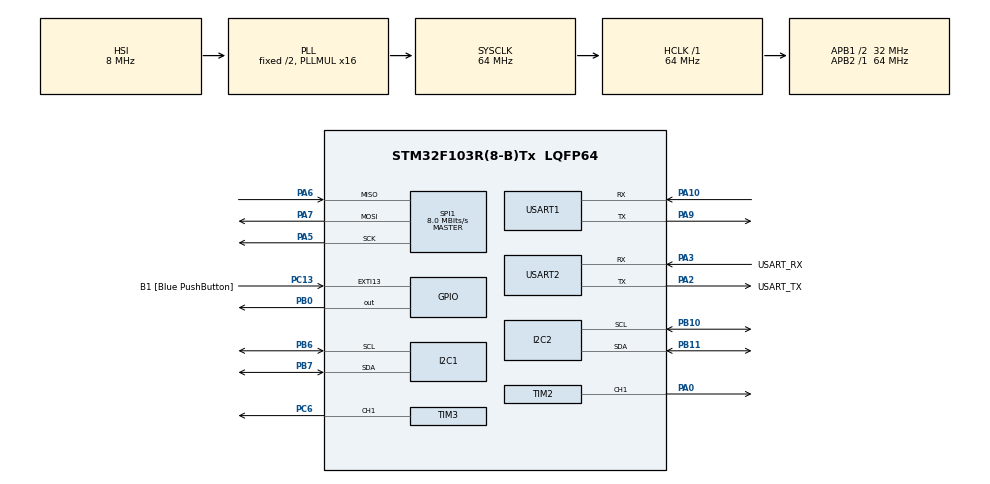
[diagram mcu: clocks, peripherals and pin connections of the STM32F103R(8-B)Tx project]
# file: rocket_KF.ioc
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FATFS._MAX_SS=4096
FATFS._USE_LFN=1
Mcu.Family=STM32F1
Mcu.Name=STM32F103R(8-B)Tx
Mcu.Package=LQFP64
NVIC.EXTI15_10_IRQn=true\:0\:0\:false\:false\:true\:true\:true\:true
NVIC.I2C1_ER_IRQn=true\:0\:0\:false\:false\:true\:true\:true\:true
NVIC.I2C1_EV_IRQn=true\:0\:0\:false\:false\:true\:true\:true\:true
NVIC.I2C2_ER_IRQn=true\:0\:0\:false\:false\:true\:true\:true\:true
NVIC.I2C2_EV_IRQn=true\:0\:0\:false\:false\:true\:true\:true\:true
NVIC.PriorityGroup=NVIC_PRIORITYGROUP_4
NVIC.TIM2_IRQn=true\:0\:0\:false\:false\:true\:true\:true\:true
NVIC.TIM3_IRQn=true\:0\:0\:false\:false\:true\:true\:true\:true
NVIC.USART1_IRQn=true\:0\:0\:false\:false\:true\:true\:true\:true
NVIC.USART2_IRQn=true\:0\:0\:false\:false\:true\:true\:true\:true
PA0-WKUP.Signal=S_TIM2_CH1_ETR
PA10.Mode=Asynchronous
PA10.Signal=USART1_RX
PA13.GPIO_Label=TMS
PA13.Mode=Serial_Wire
PA13.Signal=SYS_JTMS-SWDIO
PA14.GPIO_Label=TCK
PA14.Mode=Serial_Wire
PA14.Signal=SYS_JTCK-SWCLK
PA2.GPIO_Label=USART_TX
PA2.GPIO_Mode=GPIO_MODE_AF_PP
PA2.GPIO_PuPd=GPIO_NOPULL
PA2.GPIO_Speed=GPIO_SPEED_FREQ_LOW
PA2.Mode=Asynchronous
PA2.Signal=USART2_TX
PA3.GPIO_Label=USART_RX
PA3.GPIO_Mode=GPIO_MODE_AF_PP
PA3.GPIO_PuPd=GPIO_NOPULL
PA3.GPIO_Speed=GPIO_SPEED_FREQ_LOW
PA3.Mode=Asynchronous
PA3.Signal=USART2_RX
PA5.Mode=Full_Duplex_Master
PA5.Signal=SPI1_SCK
PA6.Mode=Full_Duplex_Master
PA6.Signal=SPI1_MISO
PA7.Mode=Full_Duplex_Master
PA7.Signal=SPI1_MOSI
PA9.Mode=Asynchronous
PA9.Signal=USART1_TX
PB0.Signal=GPIO_Output
PB10.Mode=I2C
PB10.Signal=I2C2_SCL
PB11.Mode=I2C
PB11.Signal=I2C2_SDA
PB3.GPIO_Label=SWO
PB3.Signal=SYS_JTDO-TRACESWO
PB6.Mode=I2C
PB6.Signal=I2C1_SCL
PB7.Mode=I2C
PB7.Signal=I2C1_SDA
PC13-TAMPER-RTC.GPIO_Label=B1 [Blue PushButton]
PC13-TAMPER-RTC.GPIO_PuPd=GPIO_NOPULL
PC13-TAMPER-RTC.Signal=GPXTI13
PC14-OSC32_IN.Mode=LSE-External-Oscillator
PC14-OSC32_IN.Signal=RCC_OSC32_IN
PC15-OSC32_OUT.Mode=LSE-External-Oscillator
PC15-OSC32_OUT.Signal=RCC_OSC32_OUT
PC6.Signal=S_TIM3_CH1
PD0-OSC_IN.Mode=HSE-External-Clock-Source
PD0-OSC_IN.Signal=RCC_OSC_IN
PD1-OSC_OUT.Mode=HSE-External-Clock-Source
PD1-OSC_OUT.Signal=RCC_OSC_OUT
ProjectManager.HeapSize=0x200
ProjectManager.StackSize=0x400
ProjectManager.TargetToolchain=STM32CubeIDE
RCC.AHBFreq_Value=64000000
RCC.APB1CLKDivider=RCC_HCLK_DIV2
RCC.APB1Freq_Value=32000000
RCC.APB1TimFreq_Value=64000000
RCC.APB2Freq_Value=64000000
RCC.APB2TimFreq_Value=64000000
RCC.HCLKFreq_Value=64000000
RCC.PLLMUL=RCC_PLL_MUL16
RCC.RTCClockSelection=RCC_RTCCLKSOURCE_LSE
RCC.SYSCLKFreq_VALUE=64000000
RCC.SYSCLKSource=RCC_SYSCLKSOURCE_PLLCLK
RCC.USBFreq_Value=64000000
SH.S_TIM2_CH1_ETR.0=TIM2_CH1,PWM Generation1 CH1
SH.S_TIM3_CH1.0=TIM3_CH1,Output Compare1 CH1
SPI1.BaudRatePrescaler=SPI_BAUDRATEPRESCALER_8
SPI1.CalculateBaudRate=8.0 MBits/s
SPI1.Direction=SPI_DIRECTION_2LINES
SPI1.Mode=SPI_MODE_MASTER
SPI1.VirtualType=VM_MASTER
TIM2.Channel-PWM\ Generation1\ CH1=TIM_CHANNEL_1
TIM2.Period=1000 - 1
TIM2.Prescaler=1280 - 1
TIM3.Channel-Output\ Compare1\ CH1=TIM_CHANNEL_1
TIM3.Period=10000 - 1
TIM3.Prescaler=6400 - 1
USART1.VirtualMode=VM_ASYNC
USART2.VirtualMode=VM_ASYNC
VP_FATFS_VS_Generic.Mode=User_defined
VP_TIM2_VS_ClockSourceINT.Mode=Internal
VP_TIM3_VS_ClockSourceINT.Mode=Internal
board=NUCLEO-F103RB

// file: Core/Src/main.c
/* USER CODE BEGIN Header */
/**
 ******************************************************************************
 * @file           : main.c
 * @brief          : Main program body
 ******************************************************************************
 * @attention
 *
 * Copyright (c) 2023 STMicroelectronics.
 * All rights reserved.
 *
 * This software is licensed under terms that can be found in the LICENSE file
 * in the root directory of this software component.
 * If no LICENSE file comes with this software, it is provided AS-IS.
 *
 ******************************************************************************
 */
/* USER CODE END Header */
#include "main.h"
#include "fatfs.h"

/* USER CODE BEGIN Includes */
#include "stm32f1xx.h"
#include "BMP180.h"
#include "stdio.h"
#include "MPU6050.h"
#include "math.h"
#include "stdint.h"
#include "stdlib.h"
/* USER CODE END Includes */

/* USER CODE BEGIN PD */
#define RAD_TO_DEG 57.29578
#define DEG_TO_RAD 0.017453

//define parameters
#define row_1 1
#define col_1 1
#define row_2 2
#define col_2 2
#define row_3 3
#define col_3 3
#define row_10 10
#define iter 1000
#define iter_mem 10

#define add 1
#define substract 0
#define math_pi 3.1415926535
#define gravity_const 9.81

/* USER CODE END PD */

I2C_HandleTypeDef hi2c1;
I2C_HandleTypeDef hi2c2;

SPI_HandleTypeDef hspi1;

TIM_HandleTypeDef htim2;
TIM_HandleTypeDef htim3;

UART_HandleTypeDef huart1;
UART_HandleTypeDef huart2;

/* USER CODE BEGIN PV */
float temp, press, altitude;
float count;
int second = 0;
int tmp_count = 0;

//for return
typedef struct
{
    float** estimate_cov;
    float** estimate_state;
    float** Kalman_Gain;
}KF_return;

typedef struct
{
    float estimate_cov;
    float estimate_state;
    float Kalman_Gain;
}scalar_KF_return;

/* USER CODE END PV */

void SystemClock_Config(void);
static void MX_GPIO_Init(void);
static void MX_USART2_UART_Init(void);
static void MX_I2C1_Init(void);
static void MX_I2C2_Init(void);
static void MX_SPI1_Init(void);
static void MX_TIM2_Init(void);
static void MX_USART1_UART_Init(void);
static void MX_TIM3_Init(void);
/* USER CODE BEGIN PFP */

float*** Matrix_gen(int row_n, int col_n, int iter_n);      //?  ?  ?   [iter][row][col] ?
void Matrix_free(float*** matrix, int row_n, int iter_n);

float** Matrix_gen_2dim(int row_n, int col_n);
void Matrix_free_2dim(float** matrix, int row_n);
float average_filter(float* values);
float** inv_2x2(float** matrix);
float** Transpose(float** matrix, int row, int col);
float** Matrix_adder(float** matrix_1, float** matrix_2, int row, int col, int option);
float** Matrix_multiplicator(float** matrix_1, float** matrix_2, int r1, int c1, int r2, int c2);
KF_return KF_alg(float**F, float** H, float** R, float** esti_state_prev, float** esti_cov_prev, float** measu_state, float sigma, float del_t);
scalar_KF_return scalar_KF_alg(float F_scalar, float H_scalar, float R_scalar, float esti_state_prev, float esti_cov_prev, float measu_state, float sigma_w, float del_t);

void SysTick_Init(void)
{
    SysTick->LOAD = 0xFFFFFF; // 최 ?값으 ? ?  ?
    SysTick->VAL = 0;         // ?  ?   카운?   값을 0?   ? 초기?
    SysTick->CTRL = SysTick_CTRL_CLKSOURCE_Msk |
                    SysTick_CTRL_ENABLE_Msk; // CPU ?  ?  ?   그 ? ? ?  ?  ?   ? ???   ? ?  ?
}

void SysTick_Delay_us(uint32_t us)
{
  SysTick->LOAD = us * (64000000 / 8 / 1000000) - 1;
  SysTick->VAL = 0;
  while (!(SysTick->CTRL & SysTick_CTRL_COUNTFLAG_Msk))
    ;
}
/* USER CODE END PFP */

/* USER CODE BEGIN 0 */
// use printf
#ifdef __GNUC__
/* With GCC/RAISONANCE, small printf (option LD Linker->Libraries->Small printf
   set to 'Yes') calls __io_putchar() */
#define PUTCHAR_PROTOTYPE int __io_putchar(int ch)
#else
#define PUTCHAR_PROTOTYPE int fputc(int ch, FILE *f)
#endif /* __GNUC__ */

PUTCHAR_PROTOTYPE
{
  /* Place your implementation of fputc here */
  /* e.g. write a character to the EVAL_COM1 and Loop until the end of transmission */
  HAL_UART_Transmit(&huart2, (uint8_t *)&ch, 1, 0xFFFF);
  return ch;
}
// use printf

// sdcard part
FATFS fs; // file system
FIL fil;  // File
FILINFO fno;
FRESULT fresult; // result
UINT br, bw;     // File read/write count

/**** capacity related *****/
FATFS *pfs;
DWORD fre_clust;
uint32_t total, free_space;
char str[16]; // Enough to hold all numbers up to 32-bit int
// sdcard part

// mpu6050
RawData_Def myAccelRaw, myGyroRaw;
ScaledData_Def myAccelScaled, myGyroScaled;
float desiredAngle = 45.0;
float gyroAngle = 0.0;
float dt = 0.00078;
// mpu6050
float count = 0;

/* USER CODE END 0 */

int main(void)
{
  /* USER CODE BEGIN 1 */
  MPU_ConfigTypeDef myMpuConfig;
  /* USER CODE END 1 */

  /* MCU Configuration--------------------------------------------------------*/

  /* Reset of all peripherals, Initializes the Flash interface and the Systick. */
  HAL_Init();

  /* USER CODE BEGIN Init */
  SysTick_Init();
  /* USER CODE END Init */

  /* Configure the system clock */
  SystemClock_Config();

  /* Initialize all configured peripherals */
  MX_GPIO_Init();
  MX_USART2_UART_Init();
  MX_I2C1_Init();
  MX_I2C2_Init();
  MX_SPI1_Init();
  MX_TIM2_Init();
  MX_FATFS_Init();
  MX_USART1_UART_Init();
  MX_TIM3_Init();
  /* USER CODE BEGIN 2 */
  initialBMP180();
  MPU6050_Init(&hi2c1);
  myMpuConfig.Accel_Full_Scale = AFS_SEL_16g;
  myMpuConfig.ClockSource = Internal_8MHz;
  myMpuConfig.CONFIG_DLPF = DLPF_184A_188G_Hz;
  myMpuConfig.Gyro_Full_Scale = FS_SEL_500;
  myMpuConfig.Sleep_Mode_Bit = 0;
  MPU6050_Config(&myMpuConfig);
  HAL_TIM_Base_Start(&htim2);
  HAL_TIM_PWM_Start(&htim2, TIM_CHANNEL_1);
  HAL_TIM_Base_Start_IT(&htim3);

  int Parachute = 0; // parachute deployment state
  int start = 0;     // state of time out count
  float accZ_raw, accY_raw, accZ_rot;
  float Z_velocity = 0.0f, Z_velgap = 0.0f, Z_stack = 0.0f, Z_velmean = 0.0f;
  // ?   ??? ?  ?   ?  ?   (LPF?? HPF ?  ?  )
  float alpha = 0.004f, beta = 0.996f;            // HPF ?  ?    LPF ?  ?   https://blog.naver.com/intheglass14/222777512235
  float gyroAngleX = 0.0f, gyroAngleY = 0.0f;   // ?  ?   ??? ?  ?   ??? 추정?   각도
  float accelAngleX = 0.0f, accelAngleY = 0.0f; //  ????  ?   ?  ?   ??? 추정?   각도
  float compAngleX = 0.0f, compAngleY = 0.0f;   // ?   ??? ?  ?   ??? ?  ?   추정?   각도
  float AngleX = 0.0f, AngleY = 0.0f;           // Radian angle
  float Rocket_vector[3] = {0.0f};              // rocket vector
  float Rocket_Angle = 0.0f;                    // with Z axis
  float Z_unitvector[3] = {0.0f, 0.0f, 1.0f};
  float a, b, c = 0.0f; // for acos variables
  float KF_z_pos = 0.0f;
  float KF_z_acc_vel = 0.0f;
  uint32_t startTick, endTick, elapsedTicks, costTime_us;

  //eliminate gravity comp.
  float gravity_x = 0.0f;
  float gravity_y = 0.0f;
  float gravity_z = 0.0f;
  //define lambda
  float lambda = 0.0f;

  //del_t should be changed into dt later
  //by simulation, we should get optimal del_t
  float del_t = 0.1;  //it means 100ms in operation, but in HW, we use ms scale
                      //additionally, it should be revised into accurate del_t

  //iter counter
  int iter_temp = 1;  //begin num 1, because, we should use previous values

  //Gyro KF to eliminate gravity component in our MPU acc datas.
  float** R_mat_gyro = Matrix_gen_2dim(row_1, col_1);
  float** H_vec_gyro = Matrix_gen_2dim(row_1, col_2);
  float** F_vec_gyro = Matrix_gen_2dim(row_2, col_2);

  R_mat_gyro[0][0] = 0.124;                                       //?  ?   ? ?  ?
  H_vec_gyro[0][0] = 1; H_vec_gyro[0][1] = 0;
  F_vec_gyro[0][0] = 1; F_vec_gyro[0][1] = 0; F_vec_gyro[1][0] = del_t; F_vec_gyro[1][1] = 1;

  float*** measu_Ang_acc_x = Matrix_gen(row_1, col_1, iter_mem);
  float*** est_state_rho_x = Matrix_gen(row_2, col_1, iter_mem);
  float*** est_cov_rho_x = Matrix_gen(row_2, col_2, iter_mem);

  float*** measu_Ang_acc_y = Matrix_gen(row_1, col_1, iter_mem);
  float*** est_state_pi_y = Matrix_gen(row_2, col_1, iter_mem);
  float*** est_cov_pi_y = Matrix_gen(row_2, col_2, iter_mem);

  float*** measu_Ang_acc_z = Matrix_gen(row_1, col_1, iter_mem);
  float*** est_state_thea_z = Matrix_gen(row_2, col_1, iter_mem);
  float*** est_cov_thea_z = Matrix_gen(row_2, col_2, iter_mem);

  //initializing
  est_state_rho_x[0][0][0] = myGyroScaled.x;      //changed Gyro data
  est_cov_rho_x[0][0][0] = R_mat_gyro[0][0];
  est_state_pi_y[0][0][0] = myGyroScaled.y;
  est_cov_pi_y[0][0][0] = R_mat_gyro[0][0];
  est_state_thea_z[0][0][0] = myGyroScaled.z;
  est_cov_thea_z[0][0][0] = R_mat_gyro[0][0];

  //=========need Kalman Gain and COV of estimation       R, F, H / Q : made in KF algorithm

  float** R_mat = Matrix_gen_2dim(row_1, col_1);
  float** H_vec = Matrix_gen_2dim(row_1, col_2);
  float** F_vec = Matrix_gen_2dim(row_2, col_2);
  R_mat[0][0] = 0.0144;
  H_vec[0][0] = 1;H_vec[0][1] = 0;
  F_vec[0][0] = 1; F_vec[0][1] = 0; F_vec[1][0] = del_t; F_vec[1][1] = 1;

  //for altitude, scalar KF
  float R_scalar = 0.025;  //by Average filter, var of R decrease into 1/10    //  in low power mode, its error var is 50cm
  float H_scalar = 1, F_scalar = 1;

  //sigma_w is defined by differentation between 2-steps

  //for X,Y
  //KF to estimate vel, acc. this cause linear approximation of postion of x,y
  float*** measu_acc_x = Matrix_gen(row_1, col_1, iter_mem);
  float*** est_state_x = Matrix_gen(row_3, col_1, iter_mem);  //in est_x;
  float*** est_cov_x = Matrix_gen(row_2, col_2, iter_mem);

  float*** measu_acc_y = Matrix_gen(row_1, col_1, iter_mem);
  float*** est_state_y = Matrix_gen(row_3, col_1, iter_mem);
  float*** est_cov_y = Matrix_gen(row_2, col_2, iter_mem);

  //for Z
  //KF to estimate vel, acc. to store
  //scalar KF to estimate location based on BMP180 measurement data
  float*** measu_acc_z = Matrix_gen(row_1, col_1, iter_mem);

  float standard_alt;
  float*** average_pos_z = Matrix_gen(row_1, col_1, iter_mem);     //for barometer, we should apply Average filter

  float*** est_state_z = Matrix_gen(row_3, col_1, iter_mem);
  float*** est_cov_z = Matrix_gen(row_2, col_2, iter_mem);     //for detecting location(scalar KF)
  float* est_cov_z_for_pos = (float*)malloc(iter_mem*sizeof(float));      //cov for scalar KF
  memset(est_cov_z_for_pos, 0, iter_mem * sizeof(float)); // before use malloc, init value!
  //init call sensing values

  // mpu6050 part
  MPU6050_Get_Accel_Scale(&myAccelScaled);
  MPU6050_Get_Gyro_Scale(&myGyroScaled);

  float tmp_values[10] = {0};
  for (int i = 0; i < 10; i++) {

     //measure position 10 times
     //measu_pos_z[i][1][iter_temp] = ?   ? 측정 값코?  ;
     // bmp180 part
     temp = readTrueTemp();
     press = readTruePress(0);
     altitude = readTrueAltitude(0);

     tmp_values[i] = altitude;
  }
  standard_alt = average_filter(tmp_values);
  average_pos_z[0][0][0] = 0;     //relative altitude from lift off

  //initializing
  est_state_x[0][0][0] = myAccelScaled.x;
  est_cov_x[0][0][0] = R_mat[0][0];
  est_state_y[0][0][0] = myAccelScaled.y;
  est_cov_y[0][0][0] = R_mat[0][0];
  est_state_z[0][0][0] = myAccelScaled.z - gravity_const;
  est_cov_z[0][0][0] = R_mat[0][0];
  //position initializing     for linear KF
  est_state_z[0][2][0] = average_pos_z[0][0][0];
  est_cov_z_for_pos[0] = R_scalar;

  fresult = f_mount(&fs, "/", 1);

  /* Check free space */
  f_getfree("", &fre_clust, &pfs);

  total = (uint32_t)((pfs->n_fatent - 2) * pfs->csize * 0.5);

  free_space = (uint32_t)(fre_clust * pfs->csize * 0.5);

  /* Open file to write/ create a file if it doesn't exist */
  fresult = f_open(&fil, "file1.txt", FA_OPEN_ALWAYS | FA_READ | FA_WRITE);

  /* Writing text */

  /* USER CODE END 2 */

  /* Infinite loop */
  while (1)
  {

    /* USER CODE BEGIN 3 */
     startTick = SysTick->VAL; // ?  ?   ?   ? ???

    // mpu6050 part
     MPU6050_Get_Accel_Scale(&myAccelScaled);
     MPU6050_Get_Gyro_Scale(&myGyroScaled);

   //store angular acc to matrix
   //
   // should elimnate off_set value of Gyro. vel.
   //
   measu_Ang_acc_x[iter_temp][0][0] = myGyroScaled.x;
   measu_Ang_acc_y[iter_temp][0][0] = myGyroScaled.y;
   measu_Ang_acc_z[iter_temp][0][0] = myGyroScaled.z;

    //Average Filter to optimize noise      to get positon of z
    for (int i = 0; i < 10;i++) {

        // bmp180 part
       temp = readTrueTemp();
       press = readTruePress(0);
       altitude = readTrueAltitude(0);
        //measure position 10 times
        //measu_pos_z[i][1][iter_temp] = 위치 측정 값코드;

        tmp_values[i] = altitude;
    }
    average_pos_z[iter_temp][0][0] = average_filter(tmp_values)-standard_alt;

    //other code
    //about...
    //KF, scalar KF
    //KF_return KF_alg(float** F, float** H, float** R, float** esti_state_prev, float** esti_cov_prev, float** measu_state, float sigma_w, float del_t)

    //at first step, in our MPU sensor includes gravity component in our acceleration data.
    //so we should elminate them, following steps.
    //
    //Gyro KF
    //-> mismatch of coordinate system's angle
    //-> gravity do not affect not only axis z but also x,y
    //-> compensation with tranformation of coordinate system
    //-> eliminate gravity comp

    //      2023 09 27 latest patch...

   //for x pitch ; rho
   KF_return KF_rho_x_vel_ang;
   float sigma_w_rho_x = measu_Ang_acc_x[iter_temp][0][0] - measu_Ang_acc_x[iter_temp - 1][0][0];
   KF_rho_x_vel_ang = KF_alg(F_vec_gyro, H_vec_gyro, R_mat_gyro, est_state_rho_x[iter_temp - 1], est_cov_rho_x[iter_temp - 1], measu_Ang_acc_x[iter_temp], sigma_w_rho_x, del_t);

   est_state_rho_x[iter_temp][0][0] = KF_rho_x_vel_ang.estimate_state[0][0];
   est_state_rho_x[iter_temp][1][0] = KF_rho_x_vel_ang.estimate_state[1][0];

   //for y yaw ; pi
   KF_return KF_pi_y_vel_ang;
   float sigma_w_pi_y = measu_Ang_acc_y[iter_temp][0][0] - measu_Ang_acc_y[iter_temp - 1][0][0];
   KF_pi_y_vel_ang = KF_alg(F_vec_gyro, H_vec_gyro, R_mat_gyro, est_state_pi_y[iter_temp - 1], est_cov_pi_y[iter_temp - 1], measu_Ang_acc_y[iter_temp], sigma_w_pi_y, del_t);
   est_state_pi_y[iter_temp][0][0] = KF_pi_y_vel_ang.estimate_state[0][0];
   est_state_pi_y[iter_temp][1][0] = KF_pi_y_vel_ang.estimate_state[1][0];

   //for z roll ; thea (theata)
   KF_return KF_thea_z_vel_ang;
   float sigma_w_thea_z = measu_Ang_acc_z[iter_temp][0][0] - measu_Ang_acc_z[iter_temp - 1][0][0];
   KF_thea_z_vel_ang = KF_alg(F_vec_gyro, H_vec_gyro, R_mat_gyro, est_state_thea_z[iter_temp - 1], est_cov_thea_z[iter_temp - 1], measu_Ang_acc_z[iter_temp], sigma_w_thea_z, del_t);
   est_state_thea_z[iter_temp][0][0] = KF_thea_z_vel_ang.estimate_state[0][0];
   est_state_thea_z[iter_temp][1][0] = KF_thea_z_vel_ang.estimate_state[1][0];

   // angle of lambda is radian angle...       mod of angle with axis z, in fact it could not be over 30(deg.)

   //by upper codes, we can calculate angles of eachb axis.
   //but by Gyro sensing, High frequency comps have high accuracy. in contrast, it could acuumulates errors by spin of each axises goes on

   //we should generate solution of this problem.
   //230930
   // if we do not minimize error rates, we could not estimate our rocket's state

   //calculate acc comp by gravity
   if (est_state_thea_z[iter_temp][1][0]>(math_pi / 4)) {
      //calc with sine    /use rho and thea
      lambda = (float)atan(tan((double)est_state_rho_x[iter_temp][1][0]) / sin((double)est_state_thea_z[iter_temp][1][0]));
   }
   else {
      //calc with cosine  /use pi and thea
      lambda = (float)atan(tan((double)est_state_pi_y[iter_temp][1][0]) / cos((double)est_state_thea_z[iter_temp][1][0]));
   }

   //with lambda, we should calculate gravity comp of each axis.
   //gravity = 9.81m/s^2
   gravity_x = gravity_const * sin((double)lambda) * cos((double)est_state_thea_z[iter_temp][1][0]);
   gravity_y = gravity_const * sin((double)lambda) * sin((double)est_state_thea_z[iter_temp][1][0]);
   gravity_z = gravity_const * cos((double)lambda);

   //store acc to matrix
   measu_acc_x[iter_temp][0][0] = myAccelScaled.x-gravity_x;
   measu_acc_y[iter_temp][0][0] = myAccelScaled.y-gravity_y;
   measu_acc_z[iter_temp][0][0] = myAccelScaled.z-gravity_z;

   //for x
   KF_return KF_x_acc_vel;
   float sigma_w_x = measu_acc_x[iter_temp][0][0] - measu_acc_x[iter_temp - 1][0][0];
   KF_x_acc_vel = KF_alg(F_vec, H_vec, R_mat, est_state_x[iter_temp-1],est_cov_x[iter_temp-1],measu_acc_x[iter_temp], sigma_w_x, del_t);

   est_cov_x[iter_temp] = KF_x_acc_vel.estimate_cov;
   //we can get KalmanGain but, I think that could be needed more computational efforts
   //x linear approximation with storage
   est_state_x[iter_temp][0][0] = KF_x_acc_vel.estimate_state[0][0];        //acc
   est_state_x[iter_temp][1][0] = KF_x_acc_vel.estimate_state[1][0];        //vel
   est_state_x[iter_temp][2][0] = est_state_x[iter_temp - 1][2][0] + est_state_x[iter_temp - 1][1][0] * del_t + est_state_x[iter_temp - 1][0][0] * del_t * del_t / 2;

   //for y
   KF_return KF_y_acc_vel;
   float sigma_w_y = measu_acc_y[iter_temp][0][0] - measu_acc_y[iter_temp - 1][0][0];
   KF_y_acc_vel = KF_alg(F_vec, H_vec, R_mat, est_state_y[iter_temp - 1], est_cov_y[iter_temp - 1], measu_acc_y[iter_temp], sigma_w_y, del_t);

   est_cov_y[iter_temp] = KF_y_acc_vel.estimate_cov;
   //we can get KalmanGain but, I think that could be needed more computational efforts
   //y linear approximation with storage
   est_state_y[iter_temp][0][0] = KF_y_acc_vel.estimate_state[0][0];        //acc
   est_state_y[iter_temp][1][0] = KF_y_acc_vel.estimate_state[1][0];        //vel
   est_state_y[iter_temp][2][0] = est_state_y[iter_temp - 1][2][0] + est_state_y[iter_temp - 1][1][0] * del_t + est_state_y[iter_temp - 1][0][0] * del_t * del_t / 2;

   //for z
   KF_return KF_z_acc_vel;
   scalar_KF_return KF_z_pos;

   //여기서 동적할당이 필요하려나??!
   float sigma_w_z_acc = measu_acc_z[iter_temp][0][0] - measu_acc_z[iter_temp - 1][0][0];
   KF_z_acc_vel = KF_alg(F_vec, H_vec, R_mat, est_state_z[iter_temp - 1], est_cov_z[iter_temp - 1], measu_acc_z[iter_temp], sigma_w_z_acc, del_t);

   est_cov_z[iter_temp] = KF_z_acc_vel.estimate_cov;
   //we can get KalmanGain but, I think that could be needed more computational efforts
   //y linear approximation with storage
   est_state_z[iter_temp][0][0] = KF_z_acc_vel.estimate_state[0][0];        //acc
   est_state_z[iter_temp][1][0] = KF_z_acc_vel.estimate_state[1][0];
   //vel
   //est_state_y[iter_temp][2][0] = est_state_y[iter_temp - 1][2][0] + est_state_y[iter_temp - 1][1][0] * del_t + est_state_y[iter_temp - 1][0][0] * del_t * del_t / 2;

   //scalar KF for position
   //scalar_KF_return scalar_KF_alg(float F_scalar, float H_scalar, float R_scalar, float esti_state_prev, float esti_cov_prev, float measu_state, float sigma_w, float del_t);
   float sigam_w_pos = average_pos_z[iter_temp][0][0] - average_pos_z[iter_temp-1][0][0];
   KF_z_pos = scalar_KF_alg(F_scalar, H_scalar, R_scalar, est_state_z[iter_temp-1][2][0], est_cov_z_for_pos[iter_temp-1], average_pos_z[iter_temp][0][0], sigam_w_pos, del_t);
   est_state_z[iter_temp][2][0] = KF_z_pos.estimate_state;
   est_cov_z_for_pos[iter_temp] = KF_z_pos.estimate_cov;

   //this code display values of position
   printf("[ Pos_X : %.2f ]\n[ Pos_Y : %.2f ]\n[ Pos_Z : %.2f ]\n\n",est_state_x[iter_temp][2][0],est_state_y[iter_temp][2][0],est_state_z[iter_temp][2][0]);
   printf("[ Ang_X : %.2f ]\n[ Ang_Y : %.2f ]\n[ Ang_Z : %.2f ]\n\n",est_state_rho_x[iter_temp][1][0],est_state_pi_y[iter_temp][1][0],est_state_thea_z[iter_temp][1][0]);

   //add deployment of parachute code in here
         //minjun code

    // HAL_Delay(10);
    // printf("%.2f\r\n", altitude);

//    printf("Accel: X=%.2f, Y=%.2f, Z=%.2f\n ", myAccelScaled.x, myAccelScaled.y, myAccelScaled.z);
//    HAL_Delay(50);
//    printf("Accelraw: X=%.2f, Y=%.2f, Z=%.2f\n ", myAccelRaw.x, myAccelRaw.y, myAccelRaw.z);
//    HAL_Delay(50);
//    printf("Gyro: X=%.2f, Y=%.2f, Z=%.2f\r\n", myGyroScaled.x, myGyroScaled.y, myGyroScaled.z);
//    HAL_Delay(50);
    // mpu6050 part

    // Variables = Rocekt_Angle, altitude, Z_velocity(Arr_velocity),elapsedSeconds (?  ?   ????  ?    ????  )
    /*if (start == 0 || Z_velocity >= 5)
    {
      Parachute = 1;
      start = 1;

      printf("Start deploying parachute system\r\n");
    }
*/
    if (Parachute == 0)  // set 1
    {
      // deploy Parachute part^^7 https://yjhtpi.tistory.com/352 //https://blog.naver.com/intheglass14/222777512235 MPU6050 ?  보필?    ????   블로 ???  ???
      accelAngleX = atan2f(myAccelScaled.y, sqrtf(myAccelScaled.x * myAccelScaled.x + myAccelScaled.z * myAccelScaled.z)); //RAD
      accelAngleY = atan2f(-myAccelScaled.x, sqrtf(myAccelScaled.y * myAccelScaled.y + myAccelScaled.z * myAccelScaled.z));

      gyroAngleX += myGyroScaled.x * dt; //RAD
      gyroAngleY += myGyroScaled.y * dt;
      //printf("accAngleX: %.2f accAngleY: %.2f\n",accelAngleX*RAD_TO_DEG, accelAngleY*RAD_TO_DEG);
//      HAL_Delay(50);
      printf("gyroAngleX: %.2f gyroAngleY: %.2f\n",gyroAngleX*RAD_TO_DEG, gyroAngleY*RAD_TO_DEG);
      //HAL_Delay(50);

      //HAL_Delay(50);
      compAngleX = beta * (compAngleX + gyroAngleX) + alpha * accelAngleX;
      compAngleY = beta * (compAngleY + gyroAngleY) + alpha * accelAngleY;
      AngleX = compAngleX * RAD_TO_DEG;
      AngleY = compAngleY * RAD_TO_DEG;
//      printf("AngleX: %.2f AngleY: %.2f\n",AngleX,AngleY);
      // Euler angle to vector https://stackoverflow.com/questions/1568568/how-to-convert-euler-angles-to-directional-vector
      Rocket_vector[0] = cos(AngleX) * cos(AngleY);
      Rocket_vector[1] = sin(AngleX) * cos(AngleY);
      Rocket_vector[2] = sin(AngleY);
      a = Rocket_vector[0] * Z_unitvector[0] + Rocket_vector[1] * Z_unitvector[1] + Rocket_vector[2] * Z_unitvector[2];
      b = sqrt(Rocket_vector[0] * Rocket_vector[0] + Rocket_vector[1] * Rocket_vector[1] + Rocket_vector[2] * Rocket_vector[2]);
      c = sqrt(Z_unitvector[0] * Z_unitvector[0] + Z_unitvector[1] * Z_unitvector[1] + Z_unitvector[2] * Z_unitvector[2]);
      // final Rocket Angle; Z 축에?   ?  마나 벗어?  ?   ??? 계산
      Rocket_Angle = acos(a / (b * c)) * RAD_TO_DEG;
      /*printf("Rocket Angle: %.2f\r\n", Rocket_Angle); // test code
      HAL_Delay(500);*/
      //  ????  ?   ??? ?  ?  ?   ??? 방향?   ?  ?   ?  ?  ?  켜서 중력  ????  ?   ?   ???
      accZ_raw = myAccelScaled.y * cos(AngleX) - myAccelScaled.z * sin(AngleX); // z y
      accY_raw = myAccelScaled.z * cos(AngleX) + myAccelScaled.y * sin(AngleX); // y z
      //  ????  ?   ??? ?  ?  ?   ??? 방향?   ?  ?   ?  ?  ?  켜서 중력  ????  ?   ?   ???
      accZ_rot = -accZ_raw * sin(AngleY) + accY_raw * cos(AngleY);
      /*printf("pure Z acc : %.2f\r\n", accZ_rot); // test code
      HAL_Delay(500);*/
      // velocity part
      Z_stack -= Z_velocity;             // delete pre-prev vel
      Z_velocity += accZ_rot * dt;       // calc Zvelocity
      Z_stack += Z_velocity;             // add updated vel
      Z_velmean = Z_stack / 2;           // mean of prev and
      Z_velgap = Z_velocity - Z_velmean; //
      // velocity part
      //printf("elapsed time: %lu\r\n", elapsed_time_ms);
      /*if (altitude >= 380)
      {
         Parachute = 0;
         printf("deploy parachute: altitude\r\n");
         HAL_Delay(10);
      }
      if (Rocket_Angle >= desiredAngle)
      {
         Parachute = 0;
         printf("deploy parachute: Desired Angle\r\n");
         HAL_Delay(10);
      }
      // if (Z_velgap <= 0.1f)
      // {
      //   Parachute = 0;
      //   printf("deploy parachute : Z velocity");
      // }
      /*if (elapsed_time_ms >= 5000) // 10 s
            {
              Parachute = 0;
              printf("deploy parachute : time out\r\n");
              HAL_Delay(10);
            }*/

    }
    // deploy Parachute part^^7
    // sdcard part
    char buffer[100]; // Buffer to hold string
    // sdcard part
    sprintf(buffer,
            "altitude: %.2f Gyro: X=%.2f Y=%.2f Z=%.2f Accel: X=%.2f Y=%.2f Z=%.2f\r\n",
            altitude,
            myGyroScaled.x,
            myGyroScaled.y,
            myGyroScaled.z,
            myAccelScaled.x,
            myAccelScaled.y,
            myAccelScaled.z);
    if (fresult == FR_OK)
    {
      fresult = f_write(&fil, buffer, strlen(buffer), &bw); // Write the string to file
      f_sync(&fil);                                         // Ensure data is written and saved
    }

    //free dy. memory...
    //memory free in here
   Matrix_free_2dim(KF_z_acc_vel.Kalman_Gain, row_2);
   Matrix_free_2dim(KF_z_acc_vel.estimate_state, row_2);
   Matrix_free_2dim(KF_z_acc_vel.estimate_cov, row_2);

   Matrix_free_2dim(KF_y_acc_vel.Kalman_Gain, row_2);
   Matrix_free_2dim(KF_y_acc_vel.estimate_state, row_2);
   Matrix_free_2dim(KF_y_acc_vel.estimate_cov, row_2);

   Matrix_free_2dim(KF_x_acc_vel.Kalman_Gain, row_2);
   Matrix_free_2dim(KF_x_acc_vel.estimate_state, row_2);
   Matrix_free_2dim(KF_x_acc_vel.estimate_cov, row_2);

   //to escape endless while.

   if (iter_temp*tmp_count == iter) {   //when arrives in 1000, escape while
   break;
   }
   //upper iter 500 and less than 3 m
   if ((average_pos_z[iter_temp][0][0] < 3) && (iter_temp > 500)) {
   break;
   }

   ////caution : should store in sd card when iter_temp arrives to value of 10
   ////caution : should store in sd card when iter_temp arrives to value of 10
   ////caution : should store in sd card when iter_temp arrives to value of 10
   ////caution : should store in sd card when iter_temp arrives to value of 10
   ////caution : should store in sd card when iter_temp arrives to value of 10
   ////caution : should store in sd card when iter_temp arrives to value of 10
   ////caution : should store in sd card when iter_temp arrives to value of 10
   ////caution : should store in sd card when iter_temp arrives to value of 10
   ////caution : should store in sd card when iter_temp arrives to value of 10
   ////caution : should store in sd card when iter_temp arrives to value of 10
   ////caution : should store in sd card when iter_temp arrives to value of 10
   ////caution : should store in sd card when iter_temp arrives to value of 10
   if (iter_temp == 10)
      iter_temp = 0;
   iter_temp++;
   tmp_count++;
    // sdcard part
  }

  // sdcard part
  if (fresult == FR_OK)
  {
   fresult = f_close(&fil);
  }
  // sdcard part

  // free the memory
  free(est_cov_z_for_pos);

  Matrix_free(est_cov_z, row_2, iter_mem);
  Matrix_free(est_state_z, row_3, iter_mem);  // Free the allocated memory
  Matrix_free(average_pos_z, row_1, iter_mem);
  Matrix_free(measu_acc_z, row_1, iter_mem);

  Matrix_free(est_cov_y, row_2, iter_mem);
  Matrix_free(est_state_y, row_3, iter_mem);  // Free the allocated memory
  Matrix_free(measu_acc_y, row_1, iter_mem);

  Matrix_free(est_cov_x, row_2, iter_mem);
  Matrix_free(est_state_x, row_3, iter_mem);  // Free the allocated memory
  Matrix_free(measu_acc_x, row_1, iter_mem);

  Matrix_free_2dim(F_vec, row_2);
  Matrix_free_2dim(H_vec, row_1);
  Matrix_free_2dim(R_mat, row_1);

  Matrix_free(est_cov_thea_z, row_2, iter_mem);
  Matrix_free(est_state_thea_z, row_2, iter_mem);
  Matrix_free(measu_Ang_acc_z, row_1, iter_mem);

  Matrix_free(est_cov_pi_y, row_2, iter_mem);
  Matrix_free(est_state_pi_y, row_2, iter_mem);
  Matrix_free(measu_Ang_acc_y, row_1, iter_mem);

  Matrix_free(est_cov_rho_x, row_2, iter_mem);
  Matrix_free(est_state_rho_x, row_2, iter_mem);
  Matrix_free(measu_Ang_acc_x, row_1, iter_mem);

  Matrix_free_2dim(F_vec_gyro, row_2);
  Matrix_free_2dim(H_vec_gyro, row_1);
  Matrix_free_2dim(R_mat_gyro, row_1);

  return 0;
  /* USER CODE END 3 */
}

void SystemClock_Config(void)
{
  RCC_OscInitTypeDef RCC_OscInitStruct = {0};
  RCC_ClkInitTypeDef RCC_ClkInitStruct = {0};

  /** Initializes the RCC Oscillators according to the specified parameters
  * in the RCC_OscInitTypeDef structure.
  */
  RCC_OscInitStruct.OscillatorType = RCC_OSCILLATORTYPE_HSI;
  RCC_OscInitStruct.HSIState = RCC_HSI_ON;
  RCC_OscInitStruct.HSICalibrationValue = RCC_HSICALIBRATION_DEFAULT;
  RCC_OscInitStruct.PLL.PLLState = RCC_PLL_ON;
  RCC_OscInitStruct.PLL.PLLSource = RCC_PLLSOURCE_HSI_DIV2;
  RCC_OscInitStruct.PLL.PLLMUL = RCC_PLL_MUL16;
  if (HAL_RCC_OscConfig(&RCC_OscInitStruct) != HAL_OK)
  {
    Error_Handler();
  }

  /** Initializes the CPU, AHB and APB buses clocks
  */
  RCC_ClkInitStruct.ClockType = RCC_CLOCKTYPE_HCLK|RCC_CLOCKTYPE_SYSCLK
                              |RCC_CLOCKTYPE_PCLK1|RCC_CLOCKTYPE_PCLK2;
  RCC_ClkInitStruct.SYSCLKSource = RCC_SYSCLKSOURCE_PLLCLK;
  RCC_ClkInitStruct.AHBCLKDivider = RCC_SYSCLK_DIV1;
  RCC_ClkInitStruct.APB1CLKDivider = RCC_HCLK_DIV2;
  RCC_ClkInitStruct.APB2CLKDivider = RCC_HCLK_DIV1;

  if (HAL_RCC_ClockConfig(&RCC_ClkInitStruct, FLASH_LATENCY_2) != HAL_OK)
  {
    Error_Handler();
  }
}

static void MX_I2C1_Init(void)
{

  hi2c1.Instance = I2C1;
  hi2c1.Init.ClockSpeed = 100000;
  hi2c1.Init.DutyCycle = I2C_DUTYCYCLE_2;
  hi2c1.Init.OwnAddress1 = 0;
  hi2c1.Init.AddressingMode = I2C_ADDRESSINGMODE_7BIT;
  hi2c1.Init.DualAddressMode = I2C_DUALADDRESS_DISABLE;
  hi2c1.Init.OwnAddress2 = 0;
  hi2c1.Init.GeneralCallMode = I2C_GENERALCALL_DISABLE;
  hi2c1.Init.NoStretchMode = I2C_NOSTRETCH_DISABLE;
  if (HAL_I2C_Init(&hi2c1) != HAL_OK)
  {
    Error_Handler();
  }

}

static void MX_I2C2_Init(void)
{

  hi2c2.Instance = I2C2;
  hi2c2.Init.ClockSpeed = 100000;
  hi2c2.Init.DutyCycle = I2C_DUTYCYCLE_2;
  hi2c2.Init.OwnAddress1 = 0;
  hi2c2.Init.AddressingMode = I2C_ADDRESSINGMODE_7BIT;
  hi2c2.Init.DualAddressMode = I2C_DUALADDRESS_DISABLE;
  hi2c2.Init.OwnAddress2 = 0;
  hi2c2.Init.GeneralCallMode = I2C_GENERALCALL_DISABLE;
  hi2c2.Init.NoStretchMode = I2C_NOSTRETCH_DISABLE;
  if (HAL_I2C_Init(&hi2c2) != HAL_OK)
  {
    Error_Handler();
  }

}

static void MX_SPI1_Init(void)
{

  /* SPI1 parameter configuration*/
  hspi1.Instance = SPI1;
  hspi1.Init.Mode = SPI_MODE_MASTER;
  hspi1.Init.Direction = SPI_DIRECTION_2LINES;
  hspi1.Init.DataSize = SPI_DATASIZE_8BIT;
  hspi1.Init.CLKPolarity = SPI_POLARITY_LOW;
  hspi1.Init.CLKPhase = SPI_PHASE_1EDGE;
  hspi1.Init.NSS = SPI_NSS_SOFT;
  hspi1.Init.BaudRatePrescaler = SPI_BAUDRATEPRESCALER_8;
  hspi1.Init.FirstBit = SPI_FIRSTBIT_MSB;
  hspi1.Init.TIMode = SPI_TIMODE_DISABLE;
  hspi1.Init.CRCCalculation = SPI_CRCCALCULATION_DISABLE;
  hspi1.Init.CRCPolynomial = 10;
  if (HAL_SPI_Init(&hspi1) != HAL_OK)
  {
    Error_Handler();
  }

}

static void MX_TIM2_Init(void)
{

  TIM_ClockConfigTypeDef sClockSourceConfig = {0};
  TIM_MasterConfigTypeDef sMasterConfig = {0};
  TIM_OC_InitTypeDef sConfigOC = {0};

  htim2.Instance = TIM2;
  htim2.Init.Prescaler = 1280 - 1;
  htim2.Init.CounterMode = TIM_COUNTERMODE_UP;
  htim2.Init.Period = 1000 - 1;
  htim2.Init.ClockDivision = TIM_CLOCKDIVISION_DIV1;
  htim2.Init.AutoReloadPreload = TIM_AUTORELOAD_PRELOAD_DISABLE;
  if (HAL_TIM_Base_Init(&htim2) != HAL_OK)
  {
    Error_Handler();
  }
  sClockSourceConfig.ClockSource = TIM_CLOCKSOURCE_INTERNAL;
  if (HAL_TIM_ConfigClockSource(&htim2, &sClockSourceConfig) != HAL_OK)
  {
    Error_Handler();
  }
  if (HAL_TIM_PWM_Init(&htim2) != HAL_OK)
  {
    Error_Handler();
  }
  sMasterConfig.MasterOutputTrigger = TIM_TRGO_RESET;
  sMasterConfig.MasterSlaveMode = TIM_MASTERSLAVEMODE_DISABLE;
  if (HAL_TIMEx_MasterConfigSynchronization(&htim2, &sMasterConfig) != HAL_OK)
  {
    Error_Handler();
  }
  sConfigOC.OCMode = TIM_OCMODE_PWM1;
  sConfigOC.Pulse = 0;
  sConfigOC.OCPolarity = TIM_OCPOLARITY_HIGH;
  sConfigOC.OCFastMode = TIM_OCFAST_DISABLE;
  if (HAL_TIM_PWM_ConfigChannel(&htim2, &sConfigOC, TIM_CHANNEL_1) != HAL_OK)
  {
    Error_Handler();
  }
  HAL_TIM_MspPostInit(&htim2);

}

static void MX_TIM3_Init(void)
{

  TIM_ClockConfigTypeDef sClockSourceConfig = {0};
  TIM_MasterConfigTypeDef sMasterConfig = {0};
  TIM_OC_InitTypeDef sConfigOC = {0};

  htim3.Instance = TIM3;
  htim3.Init.Prescaler = 6400 - 1;
  htim3.Init.CounterMode = TIM_COUNTERMODE_UP;
  htim3.Init.Period = 10000 - 1;
  htim3.Init.ClockDivision = TIM_CLOCKDIVISION_DIV1;
  htim3.Init.AutoReloadPreload = TIM_AUTORELOAD_PRELOAD_DISABLE;
  if (HAL_TIM_Base_Init(&htim3) != HAL_OK)
  {
    Error_Handler();
  }
  sClockSourceConfig.ClockSource = TIM_CLOCKSOURCE_INTERNAL;
  if (HAL_TIM_ConfigClockSource(&htim3, &sClockSourceConfig) != HAL_OK)
  {
    Error_Handler();
  }
  if (HAL_TIM_OC_Init(&htim3) != HAL_OK)
  {
    Error_Handler();
  }
  sMasterConfig.MasterOutputTrigger = TIM_TRGO_RESET;
  sMasterConfig.MasterSlaveMode = TIM_MASTERSLAVEMODE_DISABLE;
  if (HAL_TIMEx_MasterConfigSynchronization(&htim3, &sMasterConfig) != HAL_OK)
  {
    Error_Handler();
  }
  sConfigOC.OCMode = TIM_OCMODE_TIMING;
  sConfigOC.Pulse = 0;
  sConfigOC.OCPolarity = TIM_OCPOLARITY_HIGH;
  sConfigOC.OCFastMode = TIM_OCFAST_DISABLE;
  if (HAL_TIM_OC_ConfigChannel(&htim3, &sConfigOC, TIM_CHANNEL_1) != HAL_OK)
  {
    Error_Handler();
  }
  HAL_TIM_MspPostInit(&htim3);

}

static void MX_USART1_UART_Init(void)
{

  huart1.Instance = USART1;
  huart1.Init.BaudRate = 115200;
  huart1.Init.WordLength = UART_WORDLENGTH_8B;
  huart1.Init.StopBits = UART_STOPBITS_1;
  huart1.Init.Parity = UART_PARITY_NONE;
  huart1.Init.Mode = UART_MODE_TX_RX;
  huart1.Init.HwFlowCtl = UART_HWCONTROL_NONE;
  huart1.Init.OverSampling = UART_OVERSAMPLING_16;
  if (HAL_UART_Init(&huart1) != HAL_OK)
  {
    Error_Handler();
  }

}

static void MX_USART2_UART_Init(void)
{

  huart2.Instance = USART2;
  huart2.Init.BaudRate = 115200;
  huart2.Init.WordLength = UART_WORDLENGTH_8B;
  huart2.Init.StopBits = UART_STOPBITS_1;
  huart2.Init.Parity = UART_PARITY_NONE;
  huart2.Init.Mode = UART_MODE_TX_RX;
  huart2.Init.HwFlowCtl = UART_HWCONTROL_NONE;
  huart2.Init.OverSampling = UART_OVERSAMPLING_16;
  if (HAL_UART_Init(&huart2) != HAL_OK)
  {
    Error_Handler();
  }

}

static void MX_GPIO_Init(void)
{
  GPIO_InitTypeDef GPIO_InitStruct = {0};

  /* GPIO Ports Clock Enable */
  __HAL_RCC_GPIOC_CLK_ENABLE();
  __HAL_RCC_GPIOD_CLK_ENABLE();
  __HAL_RCC_GPIOA_CLK_ENABLE();
  __HAL_RCC_GPIOB_CLK_ENABLE();

  /*Configure GPIO pin Output Level */
  HAL_GPIO_WritePin(GPIOB, GPIO_PIN_0, GPIO_PIN_RESET);

  /*Configure GPIO pin : B1_Pin */
  GPIO_InitStruct.Pin = B1_Pin;
  GPIO_InitStruct.Mode = GPIO_MODE_IT_RISING;
  GPIO_InitStruct.Pull = GPIO_NOPULL;
  HAL_GPIO_Init(B1_GPIO_Port, &GPIO_InitStruct);

  /*Configure GPIO pin : PB0 */
  GPIO_InitStruct.Pin = GPIO_PIN_0;
  GPIO_InitStruct.Mode = GPIO_MODE_OUTPUT_PP;
  GPIO_InitStruct.Pull = GPIO_NOPULL;
  GPIO_InitStruct.Speed = GPIO_SPEED_FREQ_LOW;
  HAL_GPIO_Init(GPIOB, &GPIO_InitStruct);

  /* EXTI interrupt init*/
  HAL_NVIC_SetPriority(EXTI15_10_IRQn, 0, 0);
  HAL_NVIC_EnableIRQ(EXTI15_10_IRQn);

}

/* USER CODE BEGIN 4 */
void HAL_TIM_PeriodElapsedCallback(TIM_HandleTypeDef *htim)
{
  if (htim->Instance == TIM3)
  {
    second++;
    if (second == 5)
    {
//      printf("timeout ok\r\n");
      second = 0;
    }
  }
}

//function in Kalman Filter

float*** Matrix_gen(int row_n, int col_n, int iter_n) {
    float*** Ret_Matrix;
    Ret_Matrix = (float***)calloc(iter_n, sizeof(float**));

    if (!Ret_Matrix) {
        return NULL;
    }

    for (int i = 0; i < iter_n; i++) {
        Ret_Matrix[i] = (float**)calloc(row_n, sizeof(float*));
        if (!Ret_Matrix[i]) {
            for (int k = i - 1; k >= 0; k--) {
                free(Ret_Matrix[k]);
            }
            free(Ret_Matrix);
            return NULL;
        }

        for (int j = 0; j < row_n; j++) {
            Ret_Matrix[i][j] = (float*)calloc(col_n, sizeof(float));
            if (!Ret_Matrix[i][j]) {
                for (int k = j - 1; k >= 0; k--) {
                    free(Ret_Matrix[i][k]);
                }
                free(Ret_Matrix[i]);
                for (int k = i - 1; k >= 0; k--) {
                    free(Ret_Matrix[k]);
                }
                free(Ret_Matrix);
                return NULL;
            }
        }
    }

    return Ret_Matrix;
}

void Matrix_free(float*** matrix, int row_n, int iter_n) {
    for (int i = 0; i < iter_n; i++) {
        for (int j = 0; j < row_n; j++) {
            free(matrix[i][j]);
        }
        free(matrix[i]);
    }
    free(matrix);
}

//for 2dim
float** Matrix_gen_2dim(int row_n, int col_n) {
    float** Ret_Matrix = (float**)calloc(row_n, sizeof(float*));
    if (!Ret_Matrix) {
        return NULL;
    }

    for (int i = 0; i < row_n; i++) {
        Ret_Matrix[i] = (float*)calloc(col_n, sizeof(float));
        if (!Ret_Matrix[i]) {
            for (int k = i - 1; k >= 0; k--) {
                free(Ret_Matrix[k]);
            }
            free(Ret_Matrix);
            return NULL;
        }
    }

    return Ret_Matrix;
}

void Matrix_free_2dim(float** matrix, int row_n) {
    for (int i = 0; i < row_n; i++) {
        free(matrix[i]);
    }
    free(matrix);
}

// this code should be replace to just Average Filter _Daemin Kang deadline 0928
//
float average_filter(float* values) {
    // Doesn't have any Exception handling
    float sum = 0;
    // Calculate the initial sum
    for (int i = 0; i < 10; i++) {
        sum += values[i];
    }
    return sum / 10;
}
/*
*
// recursive MAF.
float recursive_average_filter(float* values, int index) {

    //should find is this code is right...
    float previous_average;
    if (index == 0)
        return values[0];

    previous_average = recursive_average_filter(values, index - 1);
    return (previous_average * index + values[index]) / (index + 1);
}
*/

//function for inv in 2 x 2
float** inv_2x2(float** matrix)
{
    float det = matrix[0][0] * matrix[1][1]
        - matrix[1][0] * matrix[0][1];

    if (det == 0)
    {
        return 0;
    }
    else
    {
        float temp = -matrix[1][0];
        matrix[1][0] = -1*matrix[0][1]/det;
        matrix[0][1] = temp/det;

        temp = matrix[1][1];
        matrix[1][1] = matrix[0][0]/det;
        matrix[0][0] = temp/det;
        return matrix;
    }

}

//function for transpose
float** Transpose(float** matrix, int row, int col)
{
    if (matrix == NULL || row <= 0 || col <= 0)
        return NULL;

    float** result = (float**)calloc(row, sizeof(float*));
    for (int i = 0; i < row; i++) {
        result[i] = (float*)calloc(col, sizeof(float));
    }

    for (int i = 0; i < row; i++) {
        for (int j = 0; j < col; j++) {
            result[j][i] = matrix[i][j];
        }
    }

    //need to free result memeroy in main function call
    return result;
}

//function for matrix adder with substracter
float** Matrix_adder(float** matrix_1, float** matrix_2, int row, int col, int option)  //option == 1 : adder / == 0 : substracter
{
    if (option == 1)
    {
        for (int i = 0; i < row; i++) {
            for (int j = 0; j < col; j++) {
                matrix_1[i][j] += matrix_2[i][j];
            }
        }
    }
    else if (option == 0)
    {
        for (int i = 0; i < row; i++) {
            for (int j = 0; j < col; j++) {
                matrix_1[i][j] -= matrix_2[i][j];
            }
        }
    }
    else
    //?  ?  처리 추 ??   ?   ?   ?.

    return matrix_1;
}

//function for matrix multiplication
//c1==r2         need revision
float** Matrix_multiplicator(float** matrix_1, float** matrix_2,int r1, int c1, int r2, int c2){
    float** result = (float**)calloc(r1, sizeof(float*));
    for (int i = 0; i < r1; i++) {
        result[i] = (float*)calloc(c2, sizeof(float));
    }

    for (int i = 0; i < r1; i++) {
        for (int j = 0; j < c2; j++) {
            float tempSum = 0;

            for (int k = 0; k < c1; k++) {
                tempSum += matrix_1[i][k] * matrix_2[k][j];
            }
            result[i][j] = tempSum;
        }
    }

    return result;
}

//function for KF axis acceleration.
KF_return KF_alg(float** F, float** H, float** R, float** esti_state_prev, float** esti_cov_prev, float** measu_state, float sigma_w, float del_t) {
    KF_return KF;
    //printf("pass\n");
    KF.estimate_cov = Matrix_gen_2dim(row_2, col_2);
    KF.estimate_state = Matrix_gen_2dim(row_2, col_1);
    KF.Kalman_Gain = Matrix_gen_2dim(row_2, col_1);

    //같 ? ?  ?  즈 ??  ? ? 메모리 ?? ?  ?  ?  ?   ?  ?   ?  ?   ? 최적?   ? 진행?  ?  ?    ? 같다_0915
    float** predict_cov = Matrix_gen_2dim(row_2, col_2);
    float** predict_state = Matrix_gen_2dim(row_2, col_1);
    float** transp_F = Matrix_gen_2dim(row_2, col_2);
    float** Q = Matrix_gen_2dim(row_2, col_2);
    float** transp_H = Matrix_gen_2dim(row_2, col_2);

    float** inv_term_1 = Matrix_gen_2dim(row_1,col_2);
    float** inv_term_2 = Matrix_gen_2dim(row_1, col_1);
    float** inv_term_tot = Matrix_gen_2dim(row_1, col_1);

    float** innov_1 = Matrix_gen_2dim(row_2, col_1);
    float** innov_tot = Matrix_gen_2dim(row_1, col_1);
    float** innov_Kal = Matrix_gen_2dim(row_2, col_1);

    float** renewal_cov_1 = Matrix_gen_2dim(row_2, col_2);
   	if(renewal_cov_1==NULL)
   	{printf("overflow\n");} // over flow here 1006 test

    //predict state
    predict_state = Matrix_multiplicator(F, esti_state_prev, row_2, col_2, row_2, col_1);

    //predict cov
    float sigma_sq = sigma_w * sigma_w;
    //set Q
    Q[0][0] = del_t*del_t* sigma_sq; Q[0][1] = del_t* sigma_sq; Q[1][0] = del_t * sigma_sq; Q[1][1] = sigma_sq;

    predict_cov = Matrix_multiplicator(F,esti_cov_prev, row_2, col_2, row_2, col_2);
    transp_F = Transpose(F,row_2,col_2);
    predict_cov = Matrix_multiplicator(predict_cov, transp_F, row_2, col_2, row_2, col_2);
    predict_cov = Matrix_adder(predict_cov,Q,row_2, col_2, add);

    //Kalman Gain
    inv_term_1 = Matrix_multiplicator(H, predict_cov, row_1, col_2, row_2, col_2);
    inv_term_2 = Matrix_multiplicator(inv_term_1, transp_H, row_1, col_2, row_2, col_1);
    KF.Kalman_Gain = Matrix_multiplicator(predict_cov, transp_H, row_2, col_2, row_2, col_1);
    **inv_term_tot = 1 / (**inv_term_2);

    KF.Kalman_Gain = Matrix_multiplicator(KF.Kalman_Gain, inv_term_tot, row_2, col_1, row_1, col_1);

    //Estimation of state
    innov_1 = Matrix_multiplicator(H, predict_state, row_1, col_2, row_2, col_1);
    innov_tot = Matrix_adder(measu_state, innov_1, row_1, col_1,substract);
    KF.estimate_state = Matrix_multiplicator(KF.Kalman_Gain, innov_tot, row_2, col_1, row_1, col_1);
    KF.estimate_state = Matrix_adder(predict_state ,KF.estimate_state, row_2, col_1, add);

    //Estimation of cov.
    renewal_cov_1 = Matrix_multiplicator(KF.Kalman_Gain,H,row_2, col_1, row_1, col_2);
    renewal_cov_1 = Matrix_multiplicator(renewal_cov_1, predict_cov, row_2, col_2, row_2, col_2);
    KF.estimate_cov = Matrix_adder(predict_cov, renewal_cov_1, row_2, col_2, substract);

    //free memory KF in main function.
    Matrix_free_2dim(renewal_cov_1,row_2);
    Matrix_free_2dim(innov_Kal, row_2);
    Matrix_free_2dim(innov_tot, row_1);
    Matrix_free_2dim(innov_1, row_2);

    Matrix_free_2dim(inv_term_tot, row_1);
    Matrix_free_2dim(inv_term_2, row_1);
    Matrix_free_2dim(inv_term_1, row_1);

    Matrix_free_2dim(transp_H, row_2);
    Matrix_free_2dim(Q, row_2);
    Matrix_free_2dim(transp_F, row_2);
    Matrix_free_2dim(predict_state, row_2);
    Matrix_free_2dim(predict_cov, row_2);

    return KF;//KF_return KF;   ?   구조체에 ???   ?  ?  ?  ?   문제 ? ?   찾아보기.
}

//function for scalar KF
scalar_KF_return scalar_KF_alg(float F_scalar, float H_scalar, float R_scalar, float esti_state_prev, float esti_cov_prev, float measu_state, float sigma_w, float del_t) {
    scalar_KF_return scalar_KF;

    //estimation
    float sigma_sq = sigma_w * sigma_w;
    float Q = sigma_sq;
    float pred_state;
    float pred_cov;
    float inv_term;
    float innovation;
    float Kalman_term;

    //pred of state
    pred_state = F_scalar*esti_state_prev;

    //pred of cov
    pred_cov = F_scalar * esti_cov_prev;
    pred_cov = pred_cov * F_scalar;
    pred_cov = pred_cov + Q;

    //Kalman Gain
    scalar_KF.Kalman_Gain = pred_cov * H_scalar;
    inv_term = H_scalar*pred_cov;
    inv_term = inv_term * H_scalar;
    inv_term = inv_term + R_scalar;
    inv_term = 1 / inv_term;    //caution; integer type casting problem
    scalar_KF.Kalman_Gain = scalar_KF.Kalman_Gain * inv_term;

    //Estimation of state
    innovation = measu_state - esti_state_prev;
    Kalman_term = scalar_KF.Kalman_Gain * innovation;
    scalar_KF.estimate_state = pred_state + Kalman_term;

    //Estimation of cov.
    scalar_KF.estimate_cov = (1 - scalar_KF.estimate_state) * pred_cov;

    return scalar_KF;
}

/* USER CODE END 4 */

void Error_Handler(void)
{
  __disable_irq();
  while (1)
  {
  }
}
